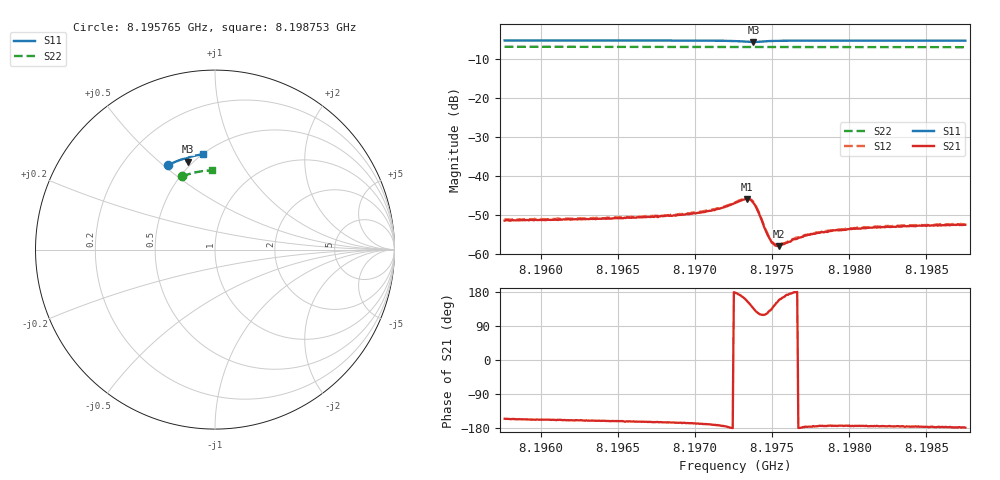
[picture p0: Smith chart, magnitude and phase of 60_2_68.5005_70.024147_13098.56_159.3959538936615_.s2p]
#  HZ  S  RI  R  50.00
! Rohde & Schwarz Vector Network Analyzer
! Rohde-Schwarz,ZNB20-2Port,1311601062101988,3.16
! Created: UTC 3/20/2024, 4:51:12 PM
! freq[Hz]  re:S11  im:S11  re:S21  im:S21  re:S12  im:S12  re:S22  im:S22
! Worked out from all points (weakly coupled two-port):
!   401 points, 8.195765 GHz to 8.198753 GHz, reference 50 ohm
!   highest |S21| = -45.85 dB at 8.197334 GHz (marker M1); lowest = -57.9 dB at 8.197543 GHz (marker M2)
!   lowest |S11| = -5.8 dB at 8.197379 GHz (marker M3), VSWR 3.10, Z = 23.5 + j31.2 ohm
!   |S11| at or under -10 dB: nowhere
!   |S22| runs from -7.1 to -7.0 dB; largest |S21 - S12| = 0.00028
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8.1957653e9  -0.2616 0.4693  -0.00244 -0.00114  -0.00256 -0.00107  -0.1813 0.4076
8.1962658e9  -0.2295 0.4855  -0.00262 -0.000981  -0.00271 -0.00091  -0.155 0.4175
8.1967662e9  -0.1955 0.4994  -0.00294 -0.000817  -0.00303 -0.000727  -0.1281 0.4258
8.196938e9  -0.1829 0.5034  -0.00315 -0.000772  -0.00324 -0.000659  -0.1188 0.4281
8.19705e9  -0.1741 0.5057  -0.0034 -0.000668  -0.0035 -0.000527  -0.1126 0.4296
8.1971695e9  -0.1633 0.5073  -0.00387 -0.000443  -0.00397 -0.000314  -0.1059 0.4311
8.1972592e9  -0.1531 0.5056  -0.00451 0.000171  -0.0046 0.000387  -0.1009 0.4319
8.1973339e9  -0.1465 0.4964  -0.0047 0.00198  -0.0047 0.00218  -0.0969 0.4326
8.1973563e9  -0.148 0.4921  -0.00421 0.00272  -0.00414 0.00296  -0.0957 0.4325
8.1973787e9  -0.1521 0.4896  -0.00323 0.00315  -0.00317 0.00338  -0.0947 0.4328
8.1974086e9  -0.1582 0.4913  -0.00197 0.00294  -0.00189 0.00311  -0.0932 0.433
8.1974608e9  -0.1607 0.5  -0.00102 0.00168  -0.000959 0.00176  -0.0903 0.4338
8.1974833e9  -0.1596 0.5032  -0.00103 0.00123  -0.000978 0.00127  -0.0892 0.4342
8.1974982e9  -0.1584 0.505  -0.000993 0.000993  -0.00102 0.00106  -0.0883 0.4343
8.1975131e9  -0.1571 0.5066  -0.00107 0.000799  -0.00105 0.000845  -0.0875 0.4345
8.197543e9  -0.1544 0.5089  -0.00118 0.00048  -0.00121 0.000558  -0.0859 0.4348
8.19767e9  -0.1435 0.5149  -0.00162 -2.44e-05  -0.00166 6.43e-05  -0.0785 0.4361
8.1977596e9  -0.1362 0.5173  -0.0018 -0.000129  -0.00185 -8.35e-05  -0.0737 0.4368
8.1978492e9  -0.1293 0.5193  -0.00194 -0.000186  -0.00198 -0.000144  -0.0685 0.4374
8.1979912e9  -0.1187 0.522  -0.00209 -0.000223  -0.00214 -0.000155  -0.0606 0.4384
8.1982601e9  -0.0993 0.5259  -0.00223 -0.000231  -0.00228 -9.7e-05  -0.0456 0.4396
8.198753e9  -0.0641 0.5309  -0.00238 -6.26e-05  -0.00242 2.43e-05  -0.0178 0.4409
